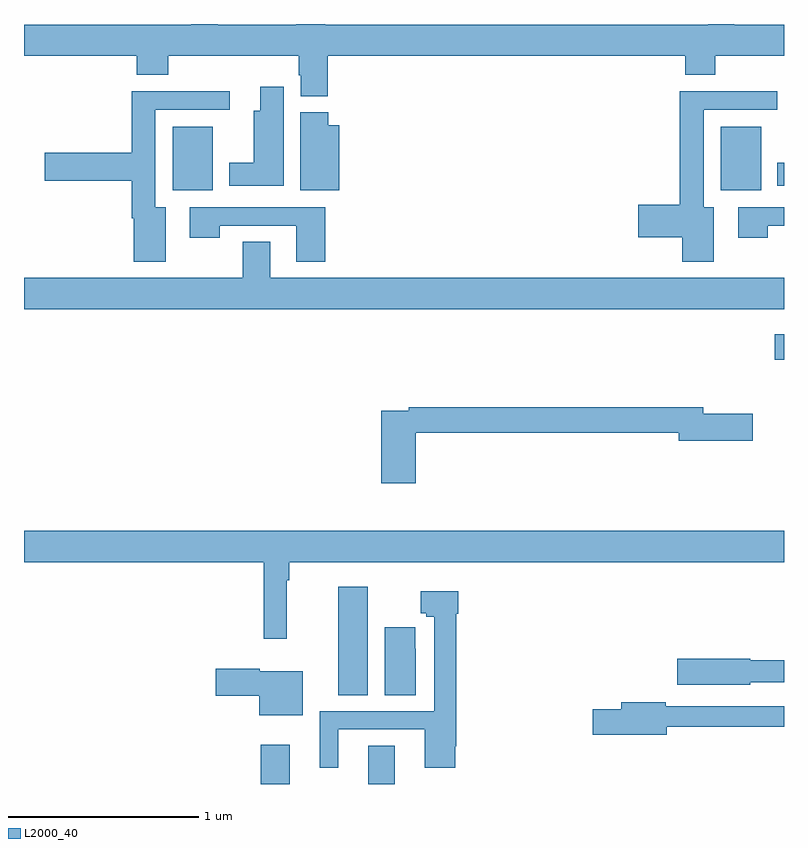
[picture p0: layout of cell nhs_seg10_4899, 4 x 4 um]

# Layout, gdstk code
import gdstk
lib = gdstk.Library(unit=1e-6, precision=1e-09)
def R(c, l, rs):  # rectangles x0, y0, x1, y1
    for r in rs: c.add(gdstk.rectangle(r[:2], r[2:], *l))
def P(c, l, *ps):  # polygons
    for p in ps: c.add(gdstk.Polygon(p, *l))
L2000_40 = (2000, 40)

nhs_seg10_4899 = lib.new_cell('nhs_seg10_4899')
R(nhs_seg10_4899, L2000_40, [(394.247,1280.5,394.399,1280.707), (394.811,1280.5,394.951,1280.702), (394.655,1280.968,394.81,1281.538), (396.951,1282.733,397,1282.867), (393.782,1283.624,393.994,1283.959), (396.668,1283.624,396.88,1283.959), (396.965,1283.648,397,1283.77)])
P(nhs_seg10_4899, L2000_40, [(394.598,1284.332),(396.479,1284.332),(396.479,1284.233),(396.639,1284.233),(396.639,1284.332),(397,1284.332),(397,1284.496),(396.739,1284.496),(396.739,1284.5),(396.6,1284.5),(396.6,1284.496),(394.586,1284.496),(394.586,1284.5),(394.433,1284.5),(394.433,1284.496),(394.021,1284.496),(394.021,1284.5),(393.881,1284.5),(393.881,1284.496),(393,1284.496),(393,1284.332),(393.593,1284.332),(393.593,1284.233),(393.758,1284.233),(393.758,1284.332),(394.445,1284.332),(394.445,1284.231),(394.457,1284.231),(394.457,1284.121),(394.598,1284.121)],
  [(394.366,1284.169),(394.244,1284.169),(394.244,1284.043),(394.208,1284.043),(394.208,1283.77),(394.079,1283.77),(394.079,1283.648),(394.366,1283.648)],
  [(393.745,1283.536),(393.691,1283.536),(393.691,1284.048),(394.084,1284.048),(394.084,1284.146),(393.566,1284.146),(393.566,1283.822),(393.108,1283.822),(393.108,1283.675),(393.566,1283.675),(393.566,1283.477),(393.578,1283.477),(393.578,1283.25),(393.745,1283.25)],
  [(396.631,1283.536),(396.577,1283.536),(396.577,1284.048),(396.964,1284.048),(396.964,1284.146),(396.452,1284.146),(396.452,1283.549),(396.234,1283.549),(396.234,1283.378),(396.464,1283.378),(396.464,1283.25),(396.631,1283.25)],
  [(394.66,1283.968),(394.601,1283.968),(394.601,1284.036),(394.454,1284.036),(394.454,1283.624),(394.66,1283.624)],
  [(394.586,1283.535),(393.873,1283.535),(393.873,1283.376),(394.029,1283.376),(394.029,1283.439),(394.433,1283.439),(394.433,1283.25),(394.586,1283.25)],
  [(396.915,1283.439),(397,1283.439),(397,1283.535),(396.759,1283.535),(396.759,1283.376),(396.915,1283.376)],
  [(394.15,1283.354),(394.15,1283.164),(393,1283.164),(393,1283),(397,1283),(397,1283.164),(394.297,1283.164),(394.297,1283.354)],
  [(395.063,1282.348),(396.446,1282.348),(396.446,1282.306),(396.835,1282.306),(396.835,1282.448),(396.574,1282.448),(396.574,1282.484),(395.026,1282.484),(395.026,1282.464),(394.88,1282.464),(394.88,1282.083),(395.063,1282.083)],
  [(394.382,1281.572),(394.397,1281.572),(394.397,1281.668),(397,1281.668),(397,1281.832),(393,1281.832),(393,1281.668),(394.261,1281.668),(394.261,1281.264),(394.382,1281.264)],
  [(394.654,1280.787),(395.108,1280.787),(395.108,1280.586),(395.27,1280.586),(395.27,1280.698),(395.276,1280.698),(395.276,1281.396),(395.285,1281.396),(395.285,1281.514),(395.089,1281.514),(395.089,1281.4),(395.118,1281.4),(395.118,1281.38),(395.16,1281.38),(395.16,1280.883),(394.556,1280.883),(394.556,1280.586),(394.654,1280.586)],
  [(395.062,1281.212),(395.059,1281.212),(395.059,1281.325),(394.898,1281.325),(394.898,1280.968),(395.062,1280.968)],
  [(396.822,1281.036),(397,1281.036),(397,1281.152),(396.822,1281.152),(396.822,1281.158),(396.438,1281.158),(396.438,1281.023),(396.822,1281.023)],
  [(394.468,1281.094),(394.242,1281.094),(394.242,1281.107),(394.008,1281.107),(394.008,1280.965),(394.238,1280.965),(394.238,1280.861),(394.468,1280.861)],
  [(396.382,1280.802),(397,1280.802),(397,1280.91),(396.378,1280.91),(396.378,1280.93),(396.143,1280.93),(396.143,1280.894),(395.994,1280.894),(395.994,1280.759),(396.382,1280.759)])

lib.write_gds('nhs_seg10_4899.gds')
